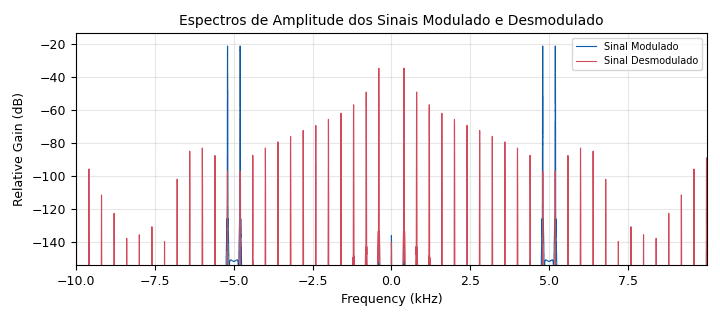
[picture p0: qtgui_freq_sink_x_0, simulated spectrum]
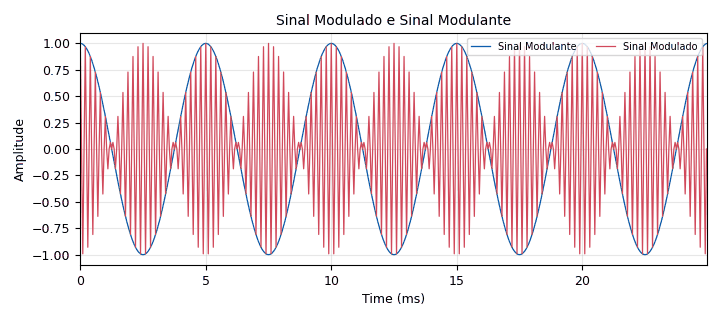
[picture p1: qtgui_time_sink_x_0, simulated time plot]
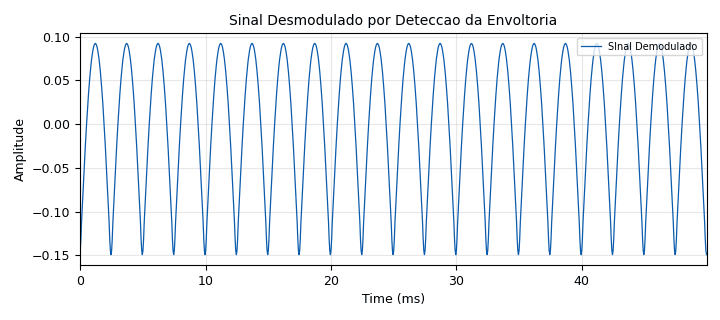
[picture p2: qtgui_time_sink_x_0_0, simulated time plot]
<?xml version='1.0' encoding='utf-8'?>
<?grc format='1' created='3.7.13'?>
<flow_graph>
<block>
<key>options</key>
<param><key>id</key><value>Labo3_3</value></param>
<param><key>category</key><value>Custom</value></param>
<param><key>generate_options</key><value>qt_gui</value></param>
<param><key>title</key><value>Detecção de envoltória de AM-DSB</value></param>
</block>
<block>
<key>variable_qtgui_range</key>
<param><key>id</key><value>A</value></param>
<param><key>value</key><value>0</value></param>
<param><key>gui_hint</key><value>1,1,1,1</value></param>
<param><key>label</key><value>Portadora</value></param>
<param><key>orient</key><value>Qt.Horizontal</value></param>
<param><key>start</key><value>0</value></param>
<param><key>step</key><value>0.1</value></param>
<param><key>stop</key><value>3</value></param>
</block>
<block>
<key>variable</key>
<param><key>id</key><value>samp_rate</value></param>
<param><key>value</key><value>20000</value></param>
</block>
<block>
<key>analog_const_source_x</key>
<param><key>id</key><value>Amplitude_Portadora</value></param>
<param><key>const</key><value>A</value></param>
<param><key>type</key><value>float</value></param>
</block>
<block>
<key>analog_sig_source_x</key>
<param><key>id</key><value>Portadora</value></param>
<param><key>amp</key><value>1</value></param>
<param><key>freq</key><value>5000</value></param>
<param><key>offset</key><value>0</value></param>
<param><key>type</key><value>float</value></param>
<param><key>samp_rate</key><value>samp_rate</value></param>
<param><key>waveform</key><value>analog.GR_COS_WAVE</value></param>
</block>
<block>
<key>analog_sig_source_x</key>
<param><key>id</key><value>Sinal_Modulante</value></param>
<param><key>amp</key><value>1</value></param>
<param><key>freq</key><value>200</value></param>
<param><key>offset</key><value>0</value></param>
<param><key>type</key><value>float</value></param>
<param><key>samp_rate</key><value>samp_rate</value></param>
<param><key>waveform</key><value>analog.GR_COS_WAVE</value></param>
</block>
<block>
<key>analog_am_demod_cf</key>
<param><key>id</key><value>analog_am_demod_cf_0</value></param>
<param><key>audio_decim</key><value>1</value></param>
<param><key>audio_pass</key><value>6000.0</value></param>
<param><key>audio_stop</key><value>7000.0</value></param>
<param><key>chan_rate</key><value>samp_rate</value></param>
</block>
<block>
<key>blocks_add_xx</key>
<param><key>id</key><value>blocks_add_xx_0</value></param>
<param><key>type</key><value>float</value></param>
</block>
<block>
<key>blocks_float_to_complex</key>
<param><key>id</key><value>blocks_float_to_complex_0</value></param>
</block>
<block>
<key>blocks_multiply_xx</key>
<param><key>id</key><value>blocks_multiply_xx_0</value></param>
<param><key>type</key><value>float</value></param>
</block>
<block>
<key>blocks_throttle</key>
<param><key>id</key><value>blocks_throttle_0</value></param>
<param><key>samples_per_second</key><value>samp_rate</value></param>
<param><key>type</key><value>float</value></param>
</block>
<block>
<key>dc_blocker_xx</key>
<param><key>id</key><value>dc_blocker_xx_0_0</value></param>
<param><key>length</key><value>1000</value></param>
<param><key>long_form</key><value>True</value></param>
<param><key>type</key><value>ff</value></param>
</block>
<block>
<key>qtgui_freq_sink_x</key>
<param><key>id</key><value>qtgui_freq_sink_x_0</value></param>
<param><key>autoscale</key><value>True</value></param>
<param><key>bw</key><value>samp_rate</value></param>
<param><key>fc</key><value>0</value></param>
<param><key>fftsize</key><value>2**13</value></param>
<param><key>gui_hint</key><value>0,1,1,1</value></param>
<param><key>grid</key><value>True</value></param>
<param><key>label1</key><value>Sinal Modulado</value></param>
<param><key>label2</key><value>Sinal Desmodulado</value></param>
<param><key>name</key><value>Espectros de Amplitude dos Sinais Modulado e Desmodulado</value></param>
<param><key>nconnections</key><value>2</value></param>
<param><key>showports</key><value>True</value></param>
<param><key>type</key><value>float</value></param>
<param><key>wintype</key><value>firdes.WIN_BLACKMAN_hARRIS</value></param>
</block>
<block>
<key>qtgui_time_sink_x</key>
<param><key>id</key><value>qtgui_time_sink_x_0</value></param>
<param><key>autoscale</key><value>True</value></param>
<param><key>gui_hint</key><value>0,0,1,1</value></param>
<param><key>grid</key><value>True</value></param>
<param><key>color1</key><value>"blue"</value></param>
<param><key>label1</key><value>Sinal Modulante</value></param>
<param><key>color2</key><value>"red"</value></param>
<param><key>label2</key><value>Sinal Modulado</value></param>
<param><key>name</key><value>Sinal Modulado e Sinal Modulante</value></param>
<param><key>nconnections</key><value>2</value></param>
<param><key>size</key><value>500</value></param>
<param><key>srate</key><value>samp_rate</value></param>
<param><key>tr_level</key><value>1</value></param>
<param><key>type</key><value>float</value></param>
<param><key>ymax</key><value>3</value></param>
<param><key>ymin</key><value>-3</value></param>
</block>
<block>
<key>qtgui_time_sink_x</key>
<param><key>id</key><value>qtgui_time_sink_x_0_0</value></param>
<param><key>autoscale</key><value>True</value></param>
<param><key>gui_hint</key><value>1,0,1,1</value></param>
<param><key>grid</key><value>True</value></param>
<param><key>color1</key><value>"blue"</value></param>
<param><key>label1</key><value>SInal Demodulado</value></param>
<param><key>name</key><value>Sinal Desmodulado por Deteccao da Envoltoria</value></param>
<param><key>size</key><value>1000</value></param>
<param><key>srate</key><value>samp_rate</value></param>
<param><key>tr_level</key><value>1</value></param>
<param><key>type</key><value>float</value></param>
</block>
<connection><source_block_id>Amplitude_Portadora</source_block_id><sink_block_id>blocks_add_xx_0</sink_block_id><source_key>0</source_key><sink_key>1</sink_key></connection>
<connection><source_block_id>Portadora</source_block_id><sink_block_id>blocks_throttle_0</sink_block_id><source_key>0</source_key><sink_key>0</sink_key></connection>
<connection><source_block_id>Sinal_Modulante</source_block_id><sink_block_id>blocks_add_xx_0</sink_block_id><source_key>0</source_key><sink_key>0</sink_key></connection>
<connection><source_block_id>Sinal_Modulante</source_block_id><sink_block_id>qtgui_time_sink_x_0</sink_block_id><source_key>0</source_key><sink_key>0</sink_key></connection>
<connection><source_block_id>analog_am_demod_cf_0</source_block_id><sink_block_id>dc_blocker_xx_0_0</sink_block_id><source_key>0</source_key><sink_key>0</sink_key></connection>
<connection><source_block_id>blocks_add_xx_0</source_block_id><sink_block_id>blocks_multiply_xx_0</sink_block_id><source_key>0</source_key><sink_key>0</sink_key></connection>
<connection><source_block_id>blocks_float_to_complex_0</source_block_id><sink_block_id>analog_am_demod_cf_0</sink_block_id><source_key>0</source_key><sink_key>0</sink_key></connection>
<connection><source_block_id>blocks_multiply_xx_0</source_block_id><sink_block_id>blocks_float_to_complex_0</sink_block_id><source_key>0</source_key><sink_key>0</sink_key></connection>
<connection><source_block_id>blocks_multiply_xx_0</source_block_id><sink_block_id>qtgui_freq_sink_x_0</sink_block_id><source_key>0</source_key><sink_key>0</sink_key></connection>
<connection><source_block_id>blocks_multiply_xx_0</source_block_id><sink_block_id>qtgui_time_sink_x_0</sink_block_id><source_key>0</source_key><sink_key>1</sink_key></connection>
<connection><source_block_id>blocks_throttle_0</source_block_id><sink_block_id>blocks_multiply_xx_0</sink_block_id><source_key>0</source_key><sink_key>1</sink_key></connection>
<connection><source_block_id>dc_blocker_xx_0_0</source_block_id><sink_block_id>qtgui_freq_sink_x_0</sink_block_id><source_key>0</source_key><sink_key>1</sink_key></connection>
<connection><source_block_id>dc_blocker_xx_0_0</source_block_id><sink_block_id>qtgui_time_sink_x_0_0</sink_block_id><source_key>0</source_key><sink_key>0</sink_key></connection>
</flow_graph>
